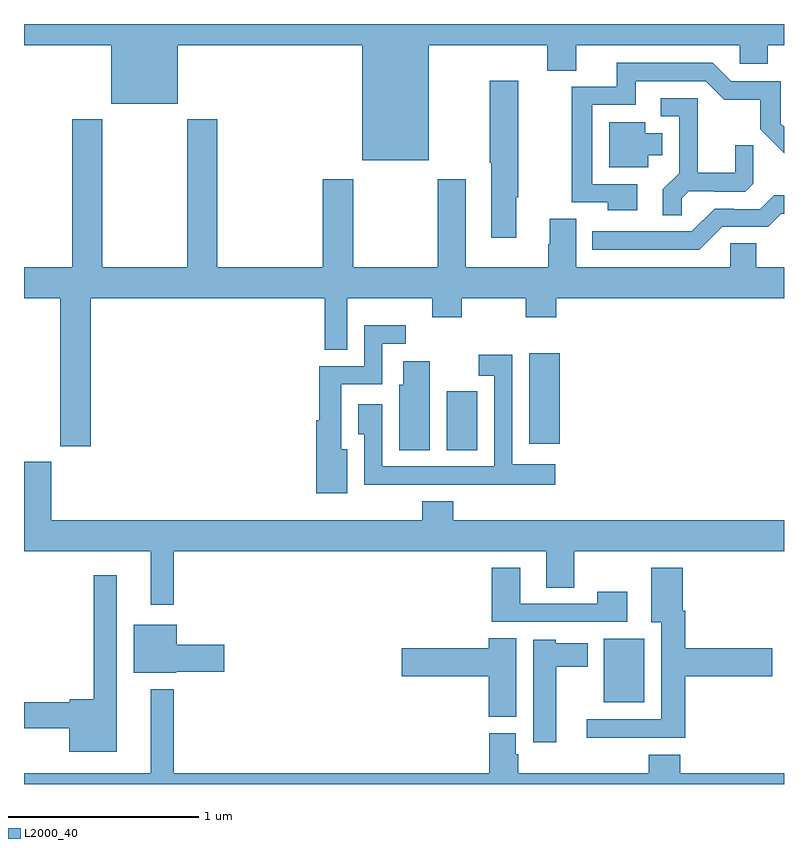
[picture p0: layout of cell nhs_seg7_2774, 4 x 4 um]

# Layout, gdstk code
import gdstk
lib = gdstk.Library(unit=1e-6, precision=1e-09)
def R(c, l, rs):  # rectangles x0, y0, x1, y1
    for r in rs: c.add(gdstk.rectangle(r[:2], r[2:], *l))
def P(c, l, *ps):  # polygons
    for p in ps: c.add(gdstk.Polygon(p, *l))
L2000_40 = (2000, 40)

nhs_seg7_2774 = lib.new_cell('nhs_seg7_2774')
R(nhs_seg7_2774, L2000_40, [(292.052,1058.429,292.264,1058.764), (291.224,1059.757,291.385,1060.068), (291.659,1059.792,291.82,1060.267)])
P(nhs_seg7_2774, L2000_40, [(291.13,1061.888),(291.755,1061.888),(291.755,1061.755),(291.907,1061.755),(291.907,1061.888),(292.767,1061.888),(292.767,1061.79),(292.914,1061.79),(292.914,1061.888),(293,1061.888),(293,1062),(289,1062),(289,1061.888),(289.46,1061.888),(289.46,1061.579),(289.81,1061.579),(289.81,1061.888),(290.78,1061.888),(290.78,1061.282),(291.13,1061.282)],
  [(292.228,1061.157),(291.99,1061.157),(291.99,1061.574),(292.219,1061.574),(292.219,1061.7),(292.587,1061.7),(292.686,1061.602),(292.875,1061.602),(292.875,1061.446),(293,1061.321),(293,1061.458),(292.983,1061.475),(292.983,1061.7),(292.722,1061.7),(292.626,1061.796),(292.121,1061.796),(292.121,1061.67),(291.882,1061.67),(291.882,1061.061),(292.072,1061.061),(292.072,1061.021),(292.228,1061.021)],
  [(291.592,1061.087),(291.6,1061.087),(291.6,1061.701),(291.451,1061.701),(291.451,1061.269),(291.458,1061.269),(291.458,1060.875),(291.592,1060.875)],
  [(292.461,1061.084),(292.498,1061.121),(292.632,1061.121),(292.632,1061.118),(292.797,1061.118),(292.838,1061.159),(292.838,1061.361),(292.744,1061.361),(292.744,1061.218),(292.547,1061.218),(292.547,1061.61),(292.35,1061.61),(292.35,1061.514),(292.449,1061.514),(292.449,1061.215),(292.363,1061.129),(292.363,1060.993),(292.461,1060.993)],
  [(289.352,1060.556),(290.583,1060.556),(290.583,1060.285),(290.701,1060.285),(290.701,1060.556),(291.148,1060.556),(291.148,1060.457),(291.303,1060.457),(291.303,1060.556),(291.64,1060.556),(291.64,1060.457),(291.8,1060.457),(291.8,1060.556),(293,1060.556),(293,1060.72),(292.855,1060.72),(292.855,1060.847),(292.716,1060.847),(292.716,1060.72),(291.907,1060.72),(291.907,1060.976),(291.767,1060.976),(291.767,1060.842),(291.76,1060.842),(291.76,1060.72),(291.325,1060.72),(291.325,1061.182),(291.178,1061.182),(291.178,1060.72),(290.733,1060.72),(290.733,1061.182),(290.573,1061.182),(290.573,1060.72),(290.018,1060.72),(290.018,1061.5),(289.858,1061.5),(289.858,1060.72),(289.413,1060.72),(289.413,1061.5),(289.253,1061.5),(289.253,1060.72),(289,1060.72),(289,1060.556),(289.192,1060.556),(289.192,1059.777),(289.352,1059.777)],
  [(292.285,1061.309),(292.36,1061.309),(292.36,1061.425),(292.27,1061.425),(292.27,1061.482),(292.079,1061.482),(292.079,1061.246),(292.285,1061.246)],
  [(292.674,1060.932),(292.917,1060.932),(292.986,1061.001),(293,1061.001),(293,1061.098),(292.948,1061.098),(292.875,1061.025),(292.736,1061.025),(292.736,1061.028),(292.635,1061.028),(292.515,1060.908),(291.992,1060.908),(291.992,1060.812),(292.554,1060.812)],
  [(290.701,1059.763),(290.671,1059.763),(290.671,1060.104),(290.886,1060.104),(290.886,1060.317),(291.01,1060.317),(291.01,1060.414),(290.79,1060.414),(290.79,1060.2),(290.553,1060.2),(290.553,1059.915),(290.537,1059.915),(290.537,1059.531),(290.701,1059.531)],
  [(291.011,1059.576),(291.377,1059.576),(291.377,1059.575),(291.796,1059.575),(291.796,1059.682),(291.57,1059.682),(291.57,1060.258),(291.393,1060.258),(291.393,1060.149),(291.474,1060.149),(291.474,1059.672),(290.886,1059.672),(290.886,1060),(290.759,1060),(290.759,1059.841),(290.79,1059.841),(290.79,1059.575),(291.011,1059.575)],
  [(291.136,1060.225),(290.996,1060.225),(290.996,1060.101),(290.975,1060.101),(290.975,1059.757),(291.136,1059.757)],
  [(289.789,1059.224),(291.749,1059.224),(291.749,1059.034),(291.897,1059.034),(291.897,1059.224),(293,1059.224),(293,1059.388),(291.26,1059.388),(291.26,1059.487),(291.095,1059.487),(291.095,1059.388),(289.144,1059.388),(289.144,1059.697),(289,1059.697),(289,1059.224),(289.667,1059.224),(289.667,1058.943),(289.789,1058.943)],
  [(292.481,1058.567),(292.939,1058.567),(292.939,1058.714),(292.481,1058.714),(292.481,1058.912),(292.468,1058.912),(292.468,1059.139),(292.301,1059.139),(292.301,1058.852),(292.355,1058.852),(292.355,1058.34),(291.963,1058.34),(291.963,1058.243),(292.481,1058.243)],
  [(292.174,1059.013),(292.018,1059.013),(292.018,1058.949),(291.613,1058.949),(291.613,1059.139),(291.461,1059.139),(291.461,1058.853),(292.174,1058.853)],
  [(289.489,1059.1),(289.368,1059.1),(289.368,1058.447),(289.242,1058.447),(289.242,1058.429),(289,1058.429),(289,1058.294),(289.238,1058.294),(289.238,1058.171),(289.489,1058.171)],
  [(289.8,1058.591),(290.053,1058.591),(290.053,1058.733),(289.804,1058.733),(289.804,1058.839),(289.577,1058.839),(289.577,1058.585),(289.8,1058.585)],
  [(291.592,1058.768),(291.446,1058.768),(291.446,1058.714),(290.988,1058.714),(290.988,1058.567),(291.446,1058.567),(291.446,1058.353),(291.592,1058.353)],
  [(291.802,1058.618),(291.967,1058.618),(291.967,1058.74),(291.798,1058.74),(291.798,1058.758),(291.68,1058.758),(291.68,1058.22),(291.802,1058.22)],
  [(293,1058.056),(292.454,1058.056),(292.454,1058.155),(292.289,1058.155),(292.289,1058.056),(291.602,1058.056),(291.602,1058.157),(291.589,1058.157),(291.589,1058.268),(291.449,1058.268),(291.449,1058.056),(289.789,1058.056),(289.789,1058.5),(289.667,1058.5),(289.667,1058.056),(289,1058.056),(289,1058),(293,1058)])

lib.write_gds('nhs_seg7_2774.gds')
